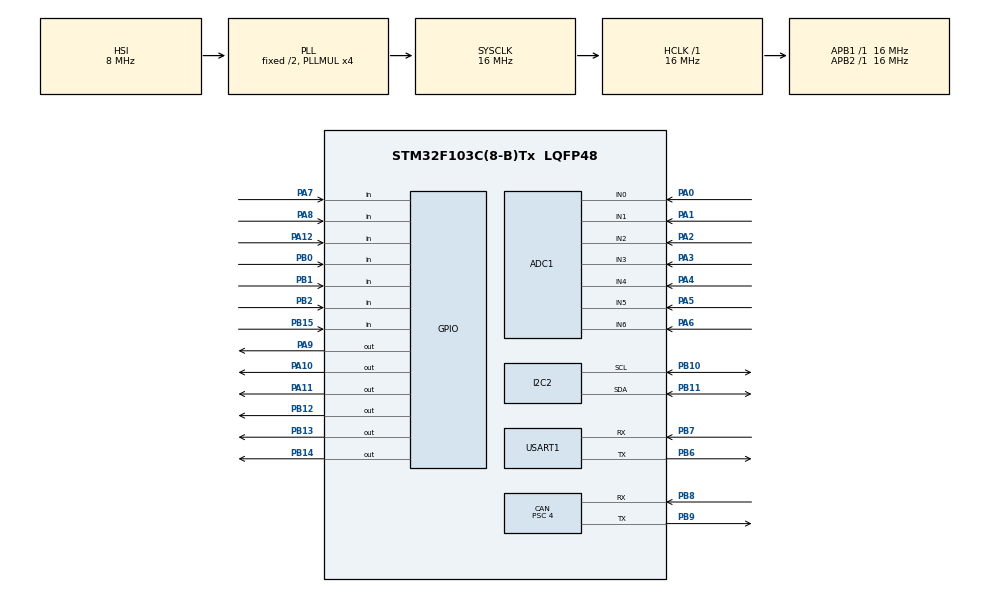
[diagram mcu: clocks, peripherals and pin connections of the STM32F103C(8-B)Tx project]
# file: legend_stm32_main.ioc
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ADC1.Channel-0\#ChannelRegularConversion=ADC_CHANNEL_0
ADC1.NbrOfConversionFlag=1
ADC1.Rank-0\#ChannelRegularConversion=1
ADC1.SamplingTime-0\#ChannelRegularConversion=ADC_SAMPLETIME_1CYCLE_5
ADC1.master=1
CAN.BS1=CAN_BS1_8TQ
CAN.BS2=CAN_BS2_7TQ
CAN.CalculateBaudRate=250000
CAN.CalculateTimeBit=4000
CAN.CalculateTimeQuantum=250.0
CAN.Prescaler=4
CAN.SJW=CAN_SJW_1TQ
IWDG.Prescaler=IWDG_PRESCALER_128
IWDG.Reload=325
Mcu.Family=STM32F1
Mcu.Name=STM32F103C(8-B)Tx
Mcu.Package=LQFP48
NVIC.I2C2_ER_IRQn=true\:0\:0\:false\:false\:true\:true\:true\:true
NVIC.I2C2_EV_IRQn=true\:0\:0\:false\:false\:true\:true\:true\:true
NVIC.PriorityGroup=NVIC_PRIORITYGROUP_4
NVIC.TIM3_IRQn=true\:0\:0\:false\:false\:true\:true\:true\:true
NVIC.TIM4_IRQn=true\:0\:0\:false\:false\:true\:true\:true\:true
NVIC.USB_HP_CAN1_TX_IRQn=true\:0\:0\:false\:false\:true\:true\:true\:true
NVIC.USB_LP_CAN1_RX0_IRQn=true\:0\:0\:false\:false\:true\:true\:true\:true
PA0-WKUP.Signal=ADCx_IN0
PA1.Signal=ADCx_IN1
PA10.Signal=GPIO_Output
PA11.Signal=GPIO_Output
PA12.Signal=GPIO_Input
PA13.Mode=Serial_Wire
PA13.Signal=SYS_JTMS-SWDIO
PA14.Mode=Serial_Wire
PA14.Signal=SYS_JTCK-SWCLK
PA2.Signal=ADCx_IN2
PA3.Signal=ADCx_IN3
PA4.Signal=ADCx_IN4
PA5.Signal=ADCx_IN5
PA6.Signal=ADCx_IN6
PA7.Signal=GPIO_Input
PA8.Signal=GPIO_Input
PA9.Signal=GPIO_Output
PB0.Signal=GPIO_Input
PB1.Signal=GPIO_Input
PB10.Mode=I2C
PB10.Signal=I2C2_SCL
PB11.Mode=I2C
PB11.Signal=I2C2_SDA
PB12.Signal=GPIO_Output
PB13.Signal=GPIO_Output
PB14.Signal=GPIO_Output
PB15.Signal=GPIO_Input
PB2.Signal=GPIO_Input
PB6.Mode=Asynchronous
PB6.Signal=USART1_TX
PB7.Mode=Asynchronous
PB7.Signal=USART1_RX
PB8.Mode=CAN_Activate
PB8.Signal=CAN_RX
PB9.Mode=CAN_Activate
PB9.Signal=CAN_TX
ProjectManager.HeapSize=0x200
ProjectManager.StackSize=0x400
ProjectManager.TargetToolchain=MDK-ARM V5.32
RCC.AHBFreq_Value=16000000
RCC.APB1Freq_Value=16000000
RCC.APB1TimFreq_Value=16000000
RCC.APB2Freq_Value=16000000
RCC.APB2TimFreq_Value=16000000
RCC.HCLKFreq_Value=16000000
RCC.PLLMUL=RCC_PLL_MUL4
RCC.SYSCLKFreq_VALUE=16000000
RCC.SYSCLKSource=RCC_SYSCLKSOURCE_PLLCLK
RCC.USBFreq_Value=16000000
SH.ADCx_IN0.0=ADC1_IN0,IN0
SH.ADCx_IN1.0=ADC1_IN1,IN1
SH.ADCx_IN2.0=ADC1_IN2,IN2
SH.ADCx_IN3.0=ADC1_IN3,IN3
SH.ADCx_IN4.0=ADC1_IN4,IN4
SH.ADCx_IN5.0=ADC1_IN5,IN5
SH.ADCx_IN6.0=ADC1_IN6,IN6
TIM3.Period=160
TIM3.Prescaler=100
TIM4.Period=10
TIM4.Prescaler=50
USART1.VirtualMode=VM_ASYNC
VP_CRC_VS_CRC.Mode=CRC_Activate
VP_IWDG_VS_IWDG.Mode=IWDG_Activate
VP_TIM3_VS_ClockSourceINT.Mode=Internal
VP_TIM4_VS_ClockSourceINT.Mode=Internal
board=custom

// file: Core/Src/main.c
/* USER CODE BEGIN Header */
/**
  ******************************************************************************
  * @file           : main.c
  * @brief          : Main program body
  ******************************************************************************
  * @attention
  *
  * Copyright (c) 2024 STMicroelectronics.
  * All rights reserved.
  *
  * This software is licensed under terms that can be found in the LICENSE file
  * in the root directory of this software component.
  * If no LICENSE file comes with this software, it is provided AS-IS.
  *
  ******************************************************************************
  */
/* USER CODE END Header */
#include "main.h"

/* USER CODE BEGIN Includes */
#include "FlashPROM.h"
#include <math.h>
/* USER CODE END Includes */

/* USER CODE BEGIN PTD */

#define bool uint16_t
#define false 0
#define true 1
#define PWM_8BIT 64  // 8-bit PWM
#define I2C_SLAVE_ADDRESS 0x67
#define I2C_TIMEOUT 10
#define I2C_BUFFER 14

//status byte 0
#define STATUS_BIT0_L_ON          0
#define STATUS_BIT0_R_ON          1
#define STATUS_BIT0_L_BUT         2
#define STATUS_BIT0_R_BUT         3
#define STATUS_BIT0_WATERMODE     4		 // Water Mode
#define STATUS_BIT0_SQUEEZE       5
#define STATUS_BIT0_OVERTEMP      6
#define STATUS_BIT0_RESERVE       7

//status byte 1

#define STATUS_BIT1_L_TRIP_STAGE1 0   // L TRIP current protection
#define STATUS_BIT1_R_TRIP_STAGE1 1   // R TRIP current protection
#define STATUS_BIT1_L_TRIP_STAGE2 2   // L TRIP over current protection short circuit
#define STATUS_BIT1_R_TRIP_STAGE2 3   // R TRIP over current protection short circuit
#define STATUS_BIT1_DO_SHIFT      4
#define STATUS_BIT1_DO_ERROR      5
#define STATUS_BIT1_DI_MODE1      6
#define STATUS_BIT1_DI_MODE2      7

//status byte 2
#define STATUS_BIT2_GEAR_P        0
#define STATUS_BIT2_FORCE         1
#define STATUS_BIT2_GEAR_N        2
#define STATUS_BIT2_GEAR_D        3
#define STATUS_BIT2_CURR1_L       4
#define STATUS_BIT2_CURR2_L       5
#define STATUS_BIT2_CURR1_R       6
#define STATUS_BIT2_CURR2_R       7

#define PARAMETERS 30     //See also BUFFSIZE 30 in FlashPROM.h
#define PAGES_COUNT 6
#define STR_LENGTH 15*2 // 2 bytes per symbol

struct AnalogFilter{
	uint64_t in_value;
	uint16_t out_value;
	uint16_t time_rate;
	uint16_t analog_limit;
	uint16_t time_count;
	bool trip;
};

struct SwitchFilter{
	bool outstate;
	bool lock;
	bool trigger;
	uint16_t scanrate;
	GPIO_TypeDef * port;
	uint16_t pin;
	uint16_t curr_scan;
};

struct Timer_v_in{
	bool timer_v_in_trigger;
  uint16_t timer_v_in_on;
  uint16_t timer_v_in_off;
	uint16_t timer_v_off_pause;
};

struct pwm{
		uint8_t dc_fill;
		bool enable;
	  uint8_t duty_cycle;
		GPIO_TypeDef * port;
	  uint16_t pin;
	  uint8_t curr_tick;
};

struct double_pwm{
		uint8_t dc_fill;
		bool enable;
	  bool trigger;
	  uint16_t duty_cycle;
		GPIO_TypeDef * port_hi;
	  uint16_t pin_hi;
		GPIO_TypeDef * port_lo;
	  uint16_t pin_lo;
	  uint8_t curr_tick;
};

struct i2c_data_{
  uint8_t statusbyte0;
  uint8_t statusbyte1;
  uint8_t statusbyte2;
  uint8_t GP_Speed;
  uint8_t GP_temp;
  uint8_t current_page;
  uint8_t paramfromdisp;
  uint8_t paramfromdisp_addr;
};

struct _ProcessChannel{
  uint8_t gear_mode;
	bool button_pressed;
	struct double_pwm * pwm;
	uint16_t  duty_cycle;
	bool squeeze;
	bool force;
	uint8_t * led;
	uint8_t * strength;
	uint8_t T_release;
	uint8_t T_on;
	bool fault;
	uint16_t timer0;
	uint16_t timer1;
};

struct MenuRow{
  uint8_t id;
	char desc_cust[STR_LENGTH];
	char desc_en[STR_LENGTH];
  uint8_t def;
  uint8_t min;
  uint8_t max;
  uint8_t writable; // 1- writable, 0 - readonly
  int8_t dp; //decimal point position
  uint8_t symb; // 0 - null, 1 - c, 2 - %, 3- A, 4 - s, 5 - mc, 6 - ms, 7 - Celsius, 8 - km/h
};

struct MenuRow menus[] = {
  {1,"01","01 I L LOW",30,0,100,1,0,2},
  {2,"02","02 I L MID",60,0,100,1,0,2},
  {3,"03","03 I L HIGH",100,0,100,1,0,2},
  {4,"04","04 I R LOW",30,0,100,1,0,2},
  {5,"05","05 I R MID",60,0,100,1,0,2},
  {6,"06","06 I R HIGH",100,0,100,1,0,2},
  {7,"07","07 Trel. norm.",5,0,100,1,1,1},
  {8,"08","08 Trel. water",20,0,100,1,1,1},
  {9,"09","09 Act curr. L",0,0,0,0,1,3},
  {10,"10","10 Act curr. R",0,0,0,0,1,3},
  {11,"11","11 Tr_del. L",0,0,50,1,1,1},
  {12,"12","12 Tr_del. R",0,0,50,1,1,1},
  {13,"13","13 I parking P",15,0,100,1,0,2},
  {14,"14","14 Temp fail",80,20,140,1,0,7},
  {15,"15","15 Off on temp",1,0,1,1,0,0},
  {16,"16","16 Iovercur. L",15,0,30,1,0,3},
  {17,"17","17 Iovercur. R",15,0,30,1,0,3},
  {18,"18","18 CAN speed",4,0,6,1,0,0},
  {19,"19","19 CAN address",0x11,0x01,0xFE,1,0,0},
  {20,"20","20 DI mode 1",0,0,1,0,0,0},
  {21,"21","21 DI mode 2",0,0,1,0,0,0},
	{22,"22","22 I Calibr L",40,10,200,1,0,0},
	{23,"23","23 I Calibr R",40,10,200,1,0,0},
  {24,"24","24 Speed cal.",29,1,250,1,0,0},
  {25,"25","25 Firmware", 10,1,100,0,1,0},
	{26,"26","26 Speed 1 st",  3,1,100,1,0,8},
	{27,"27","27 Speed 2 st", 15,1,100,1,0,8},
	{28,"28","28 DI SQ/FORCE", 1,0,1,1,0,0},
	{29,"29","29 DI WTR/FUNC", 1,0,1,1,0,0},
  {30,"30","30 Language",1,0,1,1,0,0},
};

/* USER CODE END PTD */

/* USER CODE BEGIN PD */

struct AnalogFilter pa[7]; // analog pin filter pins PA0-PA6
struct SwitchFilter pa7,pb0,pb1,pb2,pb15,pa8,pa12; //DI filter PA7,PB0,PB1,PB2,PB15,PA8,PA12
//struct pwm on_R_H, on_R_L, on_L_H, on_L_L;
struct double_pwm pwm_R, pwm_L;

uint16_t params_buf[PARAMETERS+1]; // zero byte - FLASH not erased info
uint32_t res_addr = 0;
uint32_t tick = 0;
uint16_t speed_tick = 0;
uint16_t adc_curr_L, adc_curr_R = 0;

struct _ProcessChannel Channel_L, Channel_R;

/* USER CODE END PD */

ADC_HandleTypeDef hadc1;

CAN_HandleTypeDef hcan;

CRC_HandleTypeDef hcrc;

I2C_HandleTypeDef hi2c2;

IWDG_HandleTypeDef hiwdg;

TIM_HandleTypeDef htim3;
TIM_HandleTypeDef htim4;

UART_HandleTypeDef huart1;

/* USER CODE BEGIN PV */

ADC_ChannelConfTypeDef sConfig = {0};
ADC_AnalogWDGConfTypeDef AnalogWDGConfig = {0};

struct MainDataSet{
  int16_t GP_Temp;
  uint16_t GP_Speed;
  bool Water_mode;
  bool Squeeze_mode;
	bool Force_mode;
  bool Left_button;
  bool Right_button;
  uint8_t Right_Strength;       // Empty, LOW, MID, HIGH
  uint8_t Right_Strength_level; //Level in persantage
  uint8_t Left_Strength;        // Empty, LOW, MID, HIGH
  uint8_t Left_Strength_level;  //Level in persantage
  uint8_t selector_mode;        // 1 - P, 2 - R, 3 - N, 4 - D
  uint8_t Left_fault_stage1;
	uint8_t Left_fault_stage2;
  uint8_t Right_fault_stage1;
	uint8_t Right_fault_stage2;
	uint8_t Left_On;
	uint8_t Right_On;
	uint8_t DO_shift;
	uint8_t DO_error;
	uint8_t DI_mode1;
	uint8_t DI_mode2;
	bool OverTemp;
	uint8_t gear;
};

struct MainDataSet main_data;
struct i2c_data_ i2c_data;
uint8_t tick100Hz = 0;
uint16_t  temp0, temp2 = 0;
long temp1 = 0;

/* USER CODE END PV */

void SystemClock_Config(void);
static void MX_GPIO_Init(void);
static void MX_ADC1_Init(void);
static void MX_CAN_Init(void);
static void MX_TIM3_Init(void);
static void MX_IWDG_Init(void);
static void MX_USART1_UART_Init(void);
static void MX_TIM4_Init(void);
static void MX_I2C2_Init(void);
static void MX_CRC_Init(void);

/* USER CODE BEGIN 0 */

uint8_t i2c_buf[I2C_BUFFER];
uint8_t i2c_receive[I2C_BUFFER];
uint8_t regAddress = 0;

uint8_t Calc_PWM(uint8_t duty_cycle)
{

	 if (duty_cycle == 0) return 0;

	 uint16_t result = PWM_8BIT*duty_cycle/100;
	 return (uint8_t) result;
}

bool AnalogPinTrip(struct AnalogFilter * ana)
{
  if (ana->analog_limit == 0) return false;

	if (ana->in_value > ana->analog_limit)
	{
		if (ana->time_count >= ana->time_rate)
		{
			ana->trip=true;
		} else
		  ana->time_count++;
	} else
  {
	  ana->time_count = 0;
		ana->trip=false;
	}
	return ana->trip;
}

void AnalogAverage(struct AnalogFilter * ana)
{
	if (ana->time_count == 0) return;

  ana->out_value = (uint16_t) sqrt(ana->in_value/ana->time_count); // RMS average

	ana->time_count = 0;
	ana->in_value = 0;
}

void AnalogAddValue(struct AnalogFilter * ana, uint16_t value)
{
	ana->in_value += value*value; // sum of squares
	ana->time_count++;
}

void Init_Channels()
{
	Channel_L.timer0 = 0;
	Channel_L.timer1 = 0;
	Channel_L.fault = false;
	Channel_L.force = false;
	Channel_L.pwm = &pwm_L;
	Channel_L.strength = &main_data.Left_Strength;

	Channel_R.timer0 = 0;
	Channel_R.timer1 = 0;
	Channel_R.fault = false;
	Channel_R.force = false;
	Channel_R.pwm = &pwm_R;
	Channel_R.strength = &main_data.Right_Strength;
}

void Init_i2c_data()
{
  i2c_data.statusbyte0 = 0;
  i2c_data.statusbyte1 = 0;
  i2c_data.statusbyte2 = 0;
  i2c_data.paramfromdisp = 0;
  i2c_data.paramfromdisp_addr = 0;
  i2c_data.current_page = 0;
  i2c_data.GP_Speed = 0;
  i2c_data.GP_temp = 0;
}

void InitPWM()
{
	pwm_R.dc_fill = 0;
	pwm_R.duty_cycle = 0;
	pwm_R.enable = true;
	pwm_R.trigger = false;
	pwm_R.port_hi = GPIOB;
	pwm_R.pin_hi = GPIO_PIN_13;
  pwm_R.port_lo = GPIOB;
	pwm_R.pin_lo = GPIO_PIN_14;

	pwm_L.dc_fill = 0;
	pwm_L.duty_cycle = 0;
	pwm_L.enable = true;
	pwm_L.trigger = false;
	pwm_L.port_hi = GPIOA;
	pwm_L.pin_hi = GPIO_PIN_11;
  pwm_L.port_lo = GPIOB;
	pwm_L.pin_lo = GPIO_PIN_12;
}

void InitMainScreenSet()
{
  main_data.GP_Speed = 0xFFFF;
  main_data.GP_Temp = 0xFFFF;

  main_data.Left_button = false;
  main_data.Left_Strength_level = 0;
  main_data.Left_Strength = 0;

  main_data.Right_button = false;
  main_data.Right_Strength_level = 0;
  main_data.Right_Strength = 0;

  main_data.Squeeze_mode = false;
	main_data.Force_mode = false;
  main_data.Water_mode = false;
  main_data.selector_mode = 0;
	main_data.Left_On = 0;
	main_data.Right_On = 0;
	main_data.Left_fault_stage1 = 0;
	main_data.Left_fault_stage2 = 0;
	main_data.Right_fault_stage1 = 0;
	main_data.Right_fault_stage2 = 0;
	main_data.DI_mode1 = 0;
	main_data.DI_mode2 = 0;
	main_data.DO_error = 0;
	main_data.DO_shift = 0;
	main_data.OverTemp = false;
	main_data.gear = 0;
}

void InitAnalogPins(void)
{

	//CS_L
	pa[0].trip = false;
	pa[0].in_value = 0;
	pa[0].time_rate = 3;
	pa[0].time_count = 0;
	pa[0].out_value = 0;
	pa[0].analog_limit = 0;

	//CS_R
  pa[1].trip = false;
	pa[1].in_value = 0;
	pa[1].time_rate = 3;
	pa[1].time_count = 0;
	pa[1].out_value = 0;
	pa[1].analog_limit = 0;

	//SEARCH COIL L
  pa[2].trip = false;
	pa[2].in_value = 0;
	pa[2].time_rate = 3;
	pa[2].time_count = 0;
	pa[2].out_value = 0;
	pa[2].analog_limit = 0;

	//SEARCH COIL R
  pa[3].trip = false;
	pa[3].in_value = 0;
	pa[3].time_rate = 3;
	pa[3].time_count = 0;
	pa[3].out_value = 0;
	pa[3].analog_limit = 0;

	//TEMP 0
  pa[4].trip = false;
	pa[4].in_value = 0;
	pa[4].time_rate = 3;
	pa[4].time_count = 0;
	pa[4].out_value = 0;
	pa[4].analog_limit = 0;

	//ANALOG 1
  pa[5].trip = false;
	pa[5].in_value = 0;
	pa[5].time_rate = 3;
	pa[5].time_count = 0;
	pa[5].out_value = 0;
	pa[5].analog_limit = 0;

	//ANALOG 2
  pa[6].trip = false;
	pa[6].in_value = 0;
	pa[6].time_rate = 3;
	pa[6].time_count = 0;
	pa[6].out_value = 0;
	pa[6].analog_limit = 0;

}

bool _switch_filter(struct SwitchFilter * source)
{
	if (!(HAL_GPIO_ReadPin(source->port,source->pin)))
	{
		if (source->curr_scan >= source->scanrate){

			source->outstate = true;
			source->trigger = true;
		} else

		source->curr_scan++;

		if  (source->scanrate == 0xFFFF) source->curr_scan = 0;

	} else
	{
	    source->curr_scan = 0;
			source->outstate = false;

		  if (source->trigger)
			{
				source->lock = false;
				source->trigger = false;
			}
	}

	return source->outstate;
}

void InitSwitches(void)
{
	 //DI filter PA7,PB0,PB1,PB2,PB15,PA8,PA9,PA12

		pa7.outstate = false;
	  pa7.lock = false;
	  pa7.trigger = false;
	  pa7.port = GPIOA;
	  pa7.pin = GPIO_PIN_7;
	  pa7.scanrate = 4;

		pb0.outstate = false;
	  pb0.lock = false;
	  pb0.trigger = false;
	  pb0.port = GPIOB;
	  pb0.pin = GPIO_PIN_0;
	  pb0.scanrate = 4;

		pb1.outstate = false;
	  pb1.lock = false;
	  pb1.trigger = false;
	  pb1.port = GPIOB;
	  pb1.pin = GPIO_PIN_1;
	  pb1.scanrate = 4;

		pb2.outstate = false;
		pb2.lock = false;
		pb2.trigger = false;
	  pb2.port = GPIOB;
	  pb2.pin = GPIO_PIN_2;
	  pb2.scanrate = 4;

		pa8.outstate = false;
		pa8.lock = false;
		pa8.trigger = false;
	  pa8.port = GPIOA;
	  pa8.pin = GPIO_PIN_8;
	  pa8.scanrate = 4;

    pa12.outstate = false;
		pa12.lock = false;
		pa12.trigger = false;
	  pa12.port = GPIOA;
	  pa12.pin = GPIO_PIN_12;
	  pa12.scanrate = 4;

}

void ProcessPWM(struct pwm * channel) //one transistor PWM
{

	 if (channel->dc_fill == 0){
		 HAL_GPIO_WritePin(channel->port, channel->pin, GPIO_PIN_RESET);
		 return;
	 }

	 channel->curr_tick++;

	if (channel->curr_tick >= PWM_8BIT)
	{
		 channel->curr_tick = 0;
	}

	if (channel->enable && (channel->dc_fill >= channel->curr_tick))
	{
		HAL_GPIO_WritePin(channel->port, channel->pin, GPIO_PIN_SET);
	} else
	  HAL_GPIO_WritePin(channel->port, channel->pin, GPIO_PIN_RESET);
}

void DoublePWM(struct double_pwm * pwm) //HIGH and LOW transistors used to PWM
{
	 if (pwm->dc_fill == 0 || (!pwm->enable)){
		 HAL_GPIO_WritePin(pwm->port_hi, pwm->pin_hi, GPIO_PIN_RESET);
		 HAL_GPIO_WritePin(pwm->port_lo, pwm->pin_lo, GPIO_PIN_RESET);
		 return;
	 }

	 pwm->curr_tick++;

	 if (pwm->curr_tick >= PWM_8BIT)
	 {
		  pwm->curr_tick = 0;
		  pwm->trigger = !pwm->trigger;
	 }

	 if (pwm->trigger)
	 {
	 	 HAL_GPIO_WritePin(pwm->port_lo, pwm->pin_lo, GPIO_PIN_SET);

	 	 if (pwm->dc_fill >= pwm->curr_tick)
	    {
	      HAL_GPIO_WritePin(pwm->port_hi, pwm->pin_hi, GPIO_PIN_SET);
	    } else
	      HAL_GPIO_WritePin(pwm->port_hi, pwm->pin_hi, GPIO_PIN_RESET);

	 } else
	 {
		 HAL_GPIO_WritePin(pwm->port_hi, pwm->pin_hi, GPIO_PIN_SET);

	 	 if (pwm->dc_fill >= pwm->curr_tick)
	    {
	      HAL_GPIO_WritePin(pwm->port_lo, pwm->pin_lo, GPIO_PIN_SET);
	    } else
	      HAL_GPIO_WritePin(pwm->port_lo, pwm->pin_lo, GPIO_PIN_RESET);

	 }
}

void ProcessChannel(struct _ProcessChannel * channel)
{

	if ((channel->gear_mode == 0) || (channel->squeeze == 1))  //Neutral
	{
		channel->pwm->duty_cycle = 0;
		*channel->led = 0;
		return;
	}

	if (channel->gear_mode == 1) //Parking
	{
		if (params_buf[13] >= 97) params_buf[13] = 97; //Safety condition to charge BOOTSTRAP capacitor. 100% DC are not applicable

		channel->pwm->duty_cycle = params_buf[13];

		if (!channel->fault)
		*channel->led = 1; else *channel->led = 0;
	}

	if (channel->duty_cycle >= 97) channel->duty_cycle = 97; //Safety condition to charge BOOTSTRAP capacitor. 100% DC are not applicable

	if (channel->gear_mode == 2) //Drive
	{

  	if (channel->button_pressed)
	  {

	    if (channel->T_release > 0)
			{
				channel->timer1 = 0;

	      if (channel->timer0 < channel->T_release*10)
	      {
		       channel->timer0++;
					 channel->pwm->duty_cycle = (channel->T_release*10 - channel->timer0)*channel->duty_cycle/channel->T_release/10;  //formula DC_actual=(T_rel-T)*DC/Trel

    	  } else
				{
    				channel->pwm->duty_cycle = 0;
        }

			}
			else
			channel->pwm->duty_cycle = 0;

			if (channel->pwm->duty_cycle == 0) *channel->led = 0;

		}
		else
		{
			channel->timer0 = 0;

			if (channel->T_on> 0)
			{
				if (channel->timer1 < channel->T_on*10)
				{
						channel->timer1++;
					  channel->pwm->duty_cycle = (channel->timer1)*channel->duty_cycle/channel->T_on/10;  //formula DC_actual=T*DC/Ton

				} else
				{
    				channel->pwm->duty_cycle = channel->duty_cycle;
        }

			}
			else
						channel->pwm->duty_cycle = channel->duty_cycle;

			if (!channel->fault)
			*channel->led = 1; else *channel->led = 0;
		}
	}

	if (channel->pwm->duty_cycle == 0) *channel->strength = 0;
}

void HAL_TIM_PeriodElapsedCallback(TIM_HandleTypeDef* htim) // 100Hz Timer
{
	if(htim->Instance == TIM3)
  {

		//Calculate PWM (persentage to 8-bit value)
		pwm_L.dc_fill = Calc_PWM(pwm_L.duty_cycle);
		pwm_R.dc_fill = Calc_PWM(pwm_R.duty_cycle);

		// Analog values pa[0]...pa[7]

			for (uint8_t i=0;i<7;i++)
				AnalogPinTrip(&pa[i]);

		tick100Hz++;

		//DI filter PA7,PB0,PB1,PB2,PA8,PA9,PA12
		_switch_filter(&pa7);  //Mode 1
		_switch_filter(&pb0);  //Button L
		_switch_filter(&pb1);  //Button R
		_switch_filter(&pb2);  //Squeeze
		_switch_filter(&pa8);  //Mode 2
		_switch_filter(&pa12); //Water

		ProcessChannel(&Channel_L); //LEFT channel processing
	  ProcessChannel(&Channel_R); //RIGHT channel processing

	}

	if (htim->Instance == TIM4)
	{
		temp1++;
		DoublePWM(&pwm_L);
		DoublePWM(&pwm_R);
	}
}

uint32_t GetADC1_Value(uint32_t channel)
{

		uint32_t g_ADCValue = 0;
		sConfig.Channel = channel;

		sConfig.Rank = 1;

		sConfig.SamplingTime = ADC_SAMPLETIME_13CYCLES_5; //or any other value available.

		//add to channel select

		if (HAL_ADC_ConfigChannel(&hadc1, &sConfig) != HAL_OK)
		{
				return -1;
		}
    HAL_ADC_Start(&hadc1);

		if (HAL_ADC_PollForConversion(&hadc1, HAL_MAX_DELAY) == HAL_OK)

		g_ADCValue = HAL_ADC_GetValue(&hadc1);

		//remove from channel select

		HAL_ADC_Stop(&hadc1);

		sConfig.Rank = 0; //ADC_RANK_NONE;

		if (HAL_ADC_ConfigChannel(&hadc1, &sConfig) != HAL_OK)
		{
			return -1;
		}

		return (g_ADCValue);
}

void WriteParamsToFlash()
{
	params_buf[0] = 0;

	for (int i = 1; i <= PARAMETERS;i++)
	{
		if ((params_buf[i] < (uint16_t) menus[i-1].min) || (params_buf[i] > (uint16_t) menus[i-1].max)) params_buf[i] = menus[i-1].def;
	}

	write_to_flash(&params_buf[0]);
}

void UpdateStatus()
{
	bool write_params = false;

	//Status byte 0
	i2c_data.statusbyte0 = ((bool)(main_data.Left_On) << STATUS_BIT0_L_ON) |
		           ((bool)(main_data.Right_On) << STATUS_BIT0_R_ON) |
						   ((bool)(main_data.Left_button) << STATUS_BIT0_L_BUT) |
							 ((bool)(main_data.Right_button) << STATUS_BIT0_R_BUT) |
						   ((bool)(main_data.Water_mode) << STATUS_BIT0_WATERMODE) |
							 ((bool)(main_data.Squeeze_mode) << STATUS_BIT0_SQUEEZE) |
							 ((bool)(main_data.OverTemp) << STATUS_BIT0_OVERTEMP) |
							 (0 << STATUS_BIT0_RESERVE);

	//Status byte 1
  i2c_data.statusbyte1 = ((bool)(main_data.Left_fault_stage1) << STATUS_BIT1_L_TRIP_STAGE1) |
		           ((bool)(main_data.Right_fault_stage1) << STATUS_BIT1_R_TRIP_STAGE1) |
						   ((bool)(main_data.Left_fault_stage2) << STATUS_BIT1_L_TRIP_STAGE2) |
							 ((bool)(main_data.Right_fault_stage2) << STATUS_BIT1_R_TRIP_STAGE2) |
						   ((bool)(main_data.DO_shift) << STATUS_BIT1_DO_SHIFT) |
							 ((bool)(main_data.DO_error) << STATUS_BIT1_DO_ERROR) |
							 ((bool)(main_data.DI_mode1) << STATUS_BIT1_DI_MODE1) |
							 ((bool)(main_data.DI_mode2) << STATUS_BIT1_DI_MODE2);

  //Status byte 2

  i2c_data.statusbyte2 = (main_data.gear) |
						   (main_data.Left_Strength << STATUS_BIT2_CURR1_L) |
							 (main_data.Right_Strength << STATUS_BIT2_CURR1_R);
	//Temperature
	i2c_data.GP_temp = main_data.GP_Temp;

	//Speed
	i2c_data.GP_Speed = main_data.GP_Speed;

	i2c_buf[1] = i2c_data.statusbyte0;
	i2c_buf[2] = i2c_data.statusbyte1;
	i2c_buf[3] = i2c_data.statusbyte2;
	i2c_buf[4] = i2c_data.GP_temp;
	i2c_buf[5] = i2c_data.GP_Speed;
	i2c_buf[6] = i2c_data.current_page;

	// current parameters at page
	for (int i=0; i<5; i++)
	{
		if ((i2c_data.current_page > 0) && (i2c_data.current_page <= 6))
		{
		  int index = i+1+(i2c_data.current_page-1)*5;

			if (index <= PARAMETERS)
			    i2c_buf[7+i] = params_buf[index];
			else
			    i2c_buf[7+i] = 0;
		}
		else
			 i2c_buf[7+i] = 0;
	}

	if ((i2c_data.paramfromdisp_addr > 0) && (i2c_data.paramfromdisp_addr <= PARAMETERS))
	{
		if (i2c_data.paramfromdisp >= menus[i2c_data.paramfromdisp_addr-1].min)
		if (i2c_data.paramfromdisp <= menus[i2c_data.paramfromdisp_addr-1].max)
		{
			write_params = (params_buf[i2c_data.paramfromdisp_addr] != (uint16_t) i2c_data.paramfromdisp);

			params_buf[i2c_data.paramfromdisp_addr] = (uint16_t) i2c_data.paramfromdisp;

			if (write_params)
			{
				WriteParamsToFlash();
			}

		}
	}

}

void HAL_I2C_MasterTxCpltCallback(I2C_HandleTypeDef *hi2c)
{
 //
}

void HAL_I2C_MasterRxCpltCallback(I2C_HandleTypeDef *hi2c)
{
  // I2C data ready!
}

bool CheckParamsLimits(uint16_t * params)
{
	bool result = true;

	for (int i=1; i<= PARAMETERS; i++)
	{
	 if ((uint16_t) params[i] < (uint16_t) menus[i-1].min) result = false;
	 if ((uint16_t) params[i] > (uint16_t) menus[i-1].max) result = false;
	}

	return result;
}

void WriteDefsToFlash()
{
	params_buf[0] = 0;
	for (int i = 1; i <= PARAMETERS; i++){
		  params_buf[i] = menus[i-1].def;
	}

	write_to_flash(&params_buf[0]);

}

uint8_t SelectCurrentFromSpeed(uint8_t low_dc, uint8_t mid_dc, uint8_t high_dc, uint8_t * strength)
{
	uint8_t result = 0;

	if (((main_data.GP_Speed >= 0) && (main_data.GP_Speed < params_buf[26]) || main_data.Force_mode)){
  		result = high_dc;
		  * strength = 3;
	}
	else
	if ((main_data.GP_Speed >= params_buf[26]) && (main_data.GP_Speed < params_buf[27])){
	  	result = mid_dc;
      * strength = 2;
	}
	else
	if  (main_data.GP_Speed >= params_buf[27])
	{
			result = low_dc;
			* strength = 1;
  }

	return result;
}

void UpdateChannelsData()
{
  Channel_L.button_pressed = pb0.outstate;
	Channel_L.gear_mode = main_data.selector_mode;
	Channel_L.duty_cycle = SelectCurrentFromSpeed(params_buf[1],params_buf[2],params_buf[3], &main_data.Left_Strength);

	Channel_L.squeeze = main_data.Squeeze_mode;
	Channel_L.led = &main_data.Left_On;
	Channel_L.T_release = params_buf[11];

  Channel_R.button_pressed = pb1.outstate;
	Channel_R.gear_mode = main_data.selector_mode;
	Channel_R.duty_cycle = SelectCurrentFromSpeed(params_buf[4],params_buf[5],params_buf[6], &main_data.Right_Strength);

	Channel_R.squeeze = main_data.Squeeze_mode;
	Channel_R.led = &main_data.Right_On;
	Channel_R.T_release = params_buf[12];

	if (main_data.Water_mode) //Watermode current up
	{
	    Channel_L.T_on = params_buf[8];
	    Channel_R.T_on = params_buf[8];
	}
  else //Normal current up
	{
		  Channel_L.T_on = params_buf[7];
	    Channel_R.T_on = params_buf[7];
	}
}

void ProcessDIevents()
{

	if (pb0.outstate) //Button L
	{
		main_data.Left_button = 1;

	} else
	{
		main_data.Left_button = 0;

	}

	if (pb1.outstate) //Button R
	{
		main_data.Right_button = 1;
	} else
	{
		main_data.Right_button = 0;

	}

	if (pa7.outstate) //DI Mode 1
	{
    main_data.DI_mode1 = 1;
	}
	else
	{
		main_data.DI_mode1 = 0;
	}

	params_buf[20] = main_data.DI_mode1;

	if (pb2.outstate) //Squeeze/Force
	{
		if (params_buf[28] == 1) main_data.Force_mode = 1;
		else
														 main_data.Squeeze_mode = 1;
	} else
	{
		main_data.Force_mode = 0;
		main_data.Squeeze_mode  = 0;
	}

	if (pa8.outstate) //DI Mode 2
	{
		main_data.DI_mode2 = 1;
	} else
	{
		main_data.DI_mode2  = 0;

	}

	params_buf[21] = main_data.DI_mode2;

	if (pa12.outstate) //Water
	{
		main_data.Water_mode = 1;
	} else
	{
		main_data.Water_mode  = 0;
	}

  main_data.gear = (1 << STATUS_BIT2_GEAR_N);
	main_data.selector_mode = 0;

	if (main_data.DI_mode1) {
		  main_data.gear = (1 << STATUS_BIT2_GEAR_P);
		  main_data.selector_mode = 1;
	}

  if (main_data.DI_mode2) {
		  main_data.gear = (1 << STATUS_BIT2_GEAR_D);
		  main_data.selector_mode = 2;
	}

	if (main_data.Force_mode) {
		  main_data.gear = (1 << STATUS_BIT2_FORCE);
	}

}

int16_t ADC_to_Celsius(int16_t adc)
{
	float result = 0;

	if ((adc <= 0x004) || (adc >= 3280)) // short circuit on sensor and open circuit
		return -127;

	if (adc >= 640)
	  result = -0.00000714*adc*adc-0.0104*adc+76.5; //cold temperature curve approximation
	else
	  result = 0.0014*adc*adc-1.5857*adc+513.13; //high temperature curve approximation

	return (int16_t) roundf(result);
}

void CANsendmsg()
{
	CAN_TxHeaderTypeDef msgHeader;
  uint8_t msgData[8];

	if (params_buf[18] == 0) return;

  if (HAL_CAN_GetTxMailboxesFreeLevel(&hcan) != 0)
  {

    msgHeader.StdId = params_buf[19]; //CAN bus node address
    msgHeader.DLC = 8;
    msgHeader.TransmitGlobalTime = DISABLE;
    msgHeader.RTR = CAN_RTR_DATA;
    msgHeader.IDE = CAN_ID_STD;

    uint32_t mailBoxNum = 0;

		msgData[0] = i2c_data.statusbyte0;
		msgData[1] = i2c_data.statusbyte1;
		msgData[2] = i2c_data.statusbyte2;
		msgData[3] = (int8_t)  i2c_data.GP_temp;
	  msgData[4] = (uint8_t) i2c_data.GP_Speed;

		msgData[5] = params_buf[9];  //current L
		msgData[6] = params_buf[10]; //current R

    HAL_CAN_AddTxMessage(&hcan, &msgHeader, &msgData[0], &mailBoxNum);
  }
}

void ScanSpeedSensor()
{
	bool value;
	static bool old_value;

	uint16_t result = 0;

	value = HAL_GPIO_ReadPin(GPIOB, GPIO_PIN_15);

	if (value && !old_value) //RISING EDGE
	{
    speed_tick++;
	}

	old_value = value;
}

void DOError()
{
		if (main_data.DO_error) HAL_GPIO_WritePin(GPIOA, GPIO_PIN_10, GPIO_PIN_SET); else
		                        HAL_GPIO_WritePin(GPIOA, GPIO_PIN_10, GPIO_PIN_RESET);
}

/* USER CODE END 0 */

int main(void)
{
  /* USER CODE BEGIN 1 */
  uint32_t timers[8];

  /* USER CODE END 1 */

  /* MCU Configuration--------------------------------------------------------*/

  /* Reset of all peripherals, Initializes the Flash interface and the Systick. */
  HAL_Init();

  /* Configure the system clock */
  SystemClock_Config();

  /* USER CODE BEGIN SysInit */

	res_addr = flash_search_adress(STARTADDR, PARAMETERS * DATAWIDTH);
	read_last_data_in_flash(&params_buf[0]);

	if (params_buf[0] == 0xFFFF)
	{
		erase_flash();
		HAL_Delay(5);
		WriteDefsToFlash();
	}
	if (!CheckParamsLimits(&params_buf[0]))
	{
		WriteDefsToFlash();
	}

  /* USER CODE END SysInit */

  /* Initialize all configured peripherals */
  MX_GPIO_Init();
  MX_ADC1_Init();
  MX_CAN_Init();
  MX_TIM3_Init();
  MX_IWDG_Init();
  MX_USART1_UART_Init();
  MX_TIM4_Init();
  MX_I2C2_Init();
  MX_CRC_Init();
  /* USER CODE BEGIN 2 */

	for (int j=0; j<8; j++)
	     timers[j] = 0;

	InitMainScreenSet();
	InitPWM();
	Init_i2c_data();
	Init_Channels();
	UpdateChannelsData();

	HAL_TIM_Base_Start_IT(&htim3);
	HAL_TIM_Base_Start_IT(&htim4);

	InitAnalogPins();
	InitSwitches();

	CAN_FilterTypeDef canFilterConfig;
  canFilterConfig.FilterBank = 0;
  canFilterConfig.FilterMode = CAN_FILTERMODE_IDMASK;
  canFilterConfig.FilterScale = CAN_FILTERSCALE_32BIT;
  canFilterConfig.FilterIdHigh = 0x0000;
  canFilterConfig.FilterIdLow = 0x0000;
  canFilterConfig.FilterMaskIdHigh = 0x0000;
  canFilterConfig.FilterMaskIdLow = 0x0000;
  canFilterConfig.FilterFIFOAssignment = CAN_RX_FIFO0;
  canFilterConfig.FilterActivation = ENABLE;
  canFilterConfig.SlaveStartFilterBank = 14;
  HAL_CAN_ConfigFilter(&hcan, &canFilterConfig);

	if (params_buf[18] > 0)
	{
    HAL_CAN_Start(&hcan);
    HAL_CAN_ActivateNotification(&hcan, CAN_IT_RX_FIFO0_MSG_PENDING);
  }

  /* USER CODE END 2 */

  /* Infinite loop */
  /* USER CODE BEGIN WHILE */
  while (1)
  {
		HAL_IWDG_Refresh(&hiwdg);

		if (!pb0.lock) {
			  pwm_L.enable = true;
			  main_data.Left_fault_stage2 = false;
			  Channel_L.fault = false;

		}
		if (!pb1.lock) {
			  pwm_R.enable = true;
			  main_data.Right_fault_stage2 = false;
   			Channel_R.fault = false;
		}

		if (!pb0.lock && !pb1.lock) main_data.DO_error = false;

		AnalogAddValue(&pa[0], GetADC1_Value(ADC_CHANNEL_0));  //CS_L
		AnalogAddValue(&pa[1], GetADC1_Value(ADC_CHANNEL_1));  //CS_R

		AnalogAddValue(&pa[4], GetADC1_Value(ADC_CHANNEL_4)); //TEMP0

		//pa[2].in_value = GetADC1_Value(ADC_CHANNEL_2);  //SEARCH_L
		//pa[3].in_value = GetADC1_Value(ADC_CHANNEL_3);  //SEARCH_R

		//pa[5].in_value = GetADC1_Value(ADC_CHANNEL_5);  //ANALOG 1
		//pa[6].in_value = GetADC1_Value(ADC_CHANNEL_6);  //ANALOG 2

		ScanSpeedSensor();
		DOError();

		if ((HAL_GetTick() - timers[0]) > 100) //0.1 sec
		{
			UpdateStatus();
			UpdateChannelsData();
			ProcessDIevents();

			timers[0] = HAL_GetTick();
		}

		if ((HAL_GetTick() - timers[1]) > 150) //0.15 sec
		{
			HAL_I2C_Master_Transmit(&hi2c2, (I2C_SLAVE_ADDRESS << 1), &i2c_buf[0], I2C_BUFFER,  I2C_TIMEOUT);

			CANsendmsg();
			timers[1] = HAL_GetTick();
		}

		if ((HAL_GetTick() - timers[2]) > 5) //every 5 ms
		{
			timers[2] = HAL_GetTick();
		}

		if ((HAL_GetTick() - timers[3]) > 300) //0.3 sec
		{
			AnalogAverage(&pa[0]);
			AnalogAverage(&pa[1]);
			AnalogAverage(&pa[4]);

			params_buf[9] = pa[0].out_value/params_buf[22]; //Actual Current L

			params_buf[10] = pa[1].out_value/params_buf[23]; //Actual Current R

			if (((uint16_t) params_buf[9] >=  (uint16_t) params_buf[16]*10) && (params_buf[16] > 0)) // Overload LEFT
			{
			    pwm_L.enable = false;
			    main_data.DO_error = true;
			    main_data.Left_fault_stage2 = true;
			    pb0.lock = true;
				  Channel_L.fault = true;

		  }

			if (((uint16_t) params_buf[10] >= (uint16_t) params_buf[17]*10) && (params_buf[17] > 0)) // Overload RIGHT
			{
			    pwm_R.enable = false;
			    main_data.DO_error = true;
			    main_data.Right_fault_stage2 = true;
			    pb1.lock = true;
				  Channel_R.fault = true;

		  }

			main_data.GP_Temp = ADC_to_Celsius(pa[4].out_value);   //Temperature of GP

			if (params_buf[15] == 1)
			{
					bool OverTemp_flag = main_data.OverTemp;
			    main_data.OverTemp = (main_data.GP_Temp >= params_buf[14]);

			    if (OverTemp_flag && !main_data.OverTemp) {

						  main_data.DO_error = false;
						  pwm_R.enable = true;
					  	pwm_L.enable = true;
						  Channel_L.fault = false;
						  Channel_R.fault = false;

					}

					if (main_data.OverTemp) //Overheat
					{
				    main_data.DO_error = true;
						pwm_R.enable = false;
						pwm_L.enable = false;
						main_data.Left_On = false;
						main_data.Right_On = false;
						Channel_L.fault = true;
						Channel_R.fault = true;
					}

				}

			timers[3] = HAL_GetTick();
		}

		if ((HAL_GetTick() - timers[4]) > 500) //0.50 sec
		{

			HAL_I2C_Master_Receive_IT(&hi2c2, (I2C_SLAVE_ADDRESS << 1), &i2c_receive[0], I2C_BUFFER);
			i2c_data.current_page 			= i2c_receive[1];
			i2c_data.paramfromdisp 			= i2c_receive[2];
			i2c_data.paramfromdisp_addr = i2c_receive[3];

			if (params_buf[24] > 0)
    			main_data.GP_Speed = speed_tick*20/params_buf[24];

			speed_tick = 0;

			timers[4] = HAL_GetTick();

		}

		if ((HAL_GetTick() - timers[5]) > 1000) //1.0 sec
		{

			timers[5] = HAL_GetTick();
		}

    /* USER CODE END WHILE */

  }
}

void SystemClock_Config(void)
{
  RCC_OscInitTypeDef RCC_OscInitStruct = {0};
  RCC_ClkInitTypeDef RCC_ClkInitStruct = {0};
  RCC_PeriphCLKInitTypeDef PeriphClkInit = {0};

  /** Initializes the RCC Oscillators according to the specified parameters
  * in the RCC_OscInitTypeDef structure.
  */
  RCC_OscInitStruct.OscillatorType = RCC_OSCILLATORTYPE_HSI|RCC_OSCILLATORTYPE_LSI;
  RCC_OscInitStruct.HSIState = RCC_HSI_ON;
  RCC_OscInitStruct.HSICalibrationValue = RCC_HSICALIBRATION_DEFAULT;
  RCC_OscInitStruct.LSIState = RCC_LSI_ON;
  RCC_OscInitStruct.PLL.PLLState = RCC_PLL_ON;
  RCC_OscInitStruct.PLL.PLLSource = RCC_PLLSOURCE_HSI_DIV2;
  RCC_OscInitStruct.PLL.PLLMUL = RCC_PLL_MUL4;
  if (HAL_RCC_OscConfig(&RCC_OscInitStruct) != HAL_OK)
  {
    Error_Handler();
  }

  /** Initializes the CPU, AHB and APB buses clocks
  */
  RCC_ClkInitStruct.ClockType = RCC_CLOCKTYPE_HCLK|RCC_CLOCKTYPE_SYSCLK
                              |RCC_CLOCKTYPE_PCLK1|RCC_CLOCKTYPE_PCLK2;
  RCC_ClkInitStruct.SYSCLKSource = RCC_SYSCLKSOURCE_PLLCLK;
  RCC_ClkInitStruct.AHBCLKDivider = RCC_SYSCLK_DIV1;
  RCC_ClkInitStruct.APB1CLKDivider = RCC_HCLK_DIV1;
  RCC_ClkInitStruct.APB2CLKDivider = RCC_HCLK_DIV1;

  if (HAL_RCC_ClockConfig(&RCC_ClkInitStruct, FLASH_LATENCY_0) != HAL_OK)
  {
    Error_Handler();
  }
  PeriphClkInit.PeriphClockSelection = RCC_PERIPHCLK_ADC;
  PeriphClkInit.AdcClockSelection = RCC_ADCPCLK2_DIV2;
  if (HAL_RCCEx_PeriphCLKConfig(&PeriphClkInit) != HAL_OK)
  {
    Error_Handler();
  }
}

static void MX_ADC1_Init(void)
{

  ADC_ChannelConfTypeDef sConfig = {0};

  /** Common config
  */
  hadc1.Instance = ADC1;
  hadc1.Init.ScanConvMode = ADC_SCAN_DISABLE;
  hadc1.Init.ContinuousConvMode = DISABLE;
  hadc1.Init.DiscontinuousConvMode = DISABLE;
  hadc1.Init.ExternalTrigConv = ADC_SOFTWARE_START;
  hadc1.Init.DataAlign = ADC_DATAALIGN_RIGHT;
  hadc1.Init.NbrOfConversion = 1;
  if (HAL_ADC_Init(&hadc1) != HAL_OK)
  {
    Error_Handler();
  }

  /** Configure Regular Channel
  */
  sConfig.Channel = ADC_CHANNEL_0;
  sConfig.Rank = ADC_REGULAR_RANK_1;
  sConfig.SamplingTime = ADC_SAMPLETIME_1CYCLE_5;
  if (HAL_ADC_ConfigChannel(&hadc1, &sConfig) != HAL_OK)
  {
    Error_Handler();
  }

}

static void MX_CAN_Init(void)
{

  /* USER CODE BEGIN CAN_Init 1 */

	if (params_buf[18] > 0)
	  hcan.Init.Prescaler = params_buf[18]*2; //params_buf[18] = 4 (125kbps), 3 (166kbps), 2 (250kbps), 1 (500kbps)
	else
		hcan.Init.Prescaler = 8;

  /* USER CODE END CAN_Init 1 */
  hcan.Instance = CAN1;
  //hcan.Init.Prescaler = 8;
  hcan.Init.Mode = CAN_MODE_NORMAL;
  hcan.Init.SyncJumpWidth = CAN_SJW_1TQ;
  hcan.Init.TimeSeg1 = CAN_BS1_8TQ;
  hcan.Init.TimeSeg2 = CAN_BS2_7TQ;
  hcan.Init.TimeTriggeredMode = DISABLE;
  hcan.Init.AutoBusOff = DISABLE;
  hcan.Init.AutoWakeUp = DISABLE;
  hcan.Init.AutoRetransmission = DISABLE;
  hcan.Init.ReceiveFifoLocked = DISABLE;
  hcan.Init.TransmitFifoPriority = DISABLE;
  if (HAL_CAN_Init(&hcan) != HAL_OK)
  {
    Error_Handler();
  }

}

static void MX_CRC_Init(void)
{

  hcrc.Instance = CRC;
  if (HAL_CRC_Init(&hcrc) != HAL_OK)
  {
    Error_Handler();
  }

}

static void MX_I2C2_Init(void)
{

  hi2c2.Instance = I2C2;
  hi2c2.Init.ClockSpeed = 100000;
  hi2c2.Init.DutyCycle = I2C_DUTYCYCLE_2;
  hi2c2.Init.OwnAddress1 = 0;
  hi2c2.Init.AddressingMode = I2C_ADDRESSINGMODE_7BIT;
  hi2c2.Init.DualAddressMode = I2C_DUALADDRESS_DISABLE;
  hi2c2.Init.OwnAddress2 = 0;
  hi2c2.Init.GeneralCallMode = I2C_GENERALCALL_DISABLE;
  hi2c2.Init.NoStretchMode = I2C_NOSTRETCH_DISABLE;
  if (HAL_I2C_Init(&hi2c2) != HAL_OK)
  {
    Error_Handler();
  }

}

static void MX_IWDG_Init(void)
{

  hiwdg.Instance = IWDG;
  hiwdg.Init.Prescaler = IWDG_PRESCALER_128;
  hiwdg.Init.Reload = 325;
  if (HAL_IWDG_Init(&hiwdg) != HAL_OK)
  {
    Error_Handler();
  }

}

static void MX_TIM3_Init(void)
{

  TIM_ClockConfigTypeDef sClockSourceConfig = {0};
  TIM_MasterConfigTypeDef sMasterConfig = {0};

  htim3.Instance = TIM3;
  htim3.Init.Prescaler = 1000;
  htim3.Init.CounterMode = TIM_COUNTERMODE_UP;
  htim3.Init.Period = 160;
  htim3.Init.ClockDivision = TIM_CLOCKDIVISION_DIV1;
  htim3.Init.AutoReloadPreload = TIM_AUTORELOAD_PRELOAD_DISABLE;
  if (HAL_TIM_Base_Init(&htim3) != HAL_OK)
  {
    Error_Handler();
  }
  sClockSourceConfig.ClockSource = TIM_CLOCKSOURCE_INTERNAL;
  if (HAL_TIM_ConfigClockSource(&htim3, &sClockSourceConfig) != HAL_OK)
  {
    Error_Handler();
  }
  sMasterConfig.MasterOutputTrigger = TIM_TRGO_RESET;
  sMasterConfig.MasterSlaveMode = TIM_MASTERSLAVEMODE_DISABLE;
  if (HAL_TIMEx_MasterConfigSynchronization(&htim3, &sMasterConfig) != HAL_OK)
  {
    Error_Handler();
  }

}

static void MX_TIM4_Init(void)
{

  TIM_ClockConfigTypeDef sClockSourceConfig = {0};
  TIM_MasterConfigTypeDef sMasterConfig = {0};

  htim4.Instance = TIM4;
  htim4.Init.Prescaler = 50;
  htim4.Init.CounterMode = TIM_COUNTERMODE_UP;
  htim4.Init.Period = 10;
  htim4.Init.ClockDivision = TIM_CLOCKDIVISION_DIV1;
  htim4.Init.AutoReloadPreload = TIM_AUTORELOAD_PRELOAD_DISABLE;
  if (HAL_TIM_Base_Init(&htim4) != HAL_OK)
  {
    Error_Handler();
  }
  sClockSourceConfig.ClockSource = TIM_CLOCKSOURCE_INTERNAL;
  if (HAL_TIM_ConfigClockSource(&htim4, &sClockSourceConfig) != HAL_OK)
  {
    Error_Handler();
  }
  sMasterConfig.MasterOutputTrigger = TIM_TRGO_RESET;
  sMasterConfig.MasterSlaveMode = TIM_MASTERSLAVEMODE_DISABLE;
  if (HAL_TIMEx_MasterConfigSynchronization(&htim4, &sMasterConfig) != HAL_OK)
  {
    Error_Handler();
  }

}

static void MX_USART1_UART_Init(void)
{

  huart1.Instance = USART1;
  huart1.Init.BaudRate = 115200;
  huart1.Init.WordLength = UART_WORDLENGTH_8B;
  huart1.Init.StopBits = UART_STOPBITS_1;
  huart1.Init.Parity = UART_PARITY_NONE;
  huart1.Init.Mode = UART_MODE_TX_RX;
  huart1.Init.HwFlowCtl = UART_HWCONTROL_NONE;
  huart1.Init.OverSampling = UART_OVERSAMPLING_16;
  if (HAL_UART_Init(&huart1) != HAL_OK)
  {
    Error_Handler();
  }

}

static void MX_GPIO_Init(void)
{
  GPIO_InitTypeDef GPIO_InitStruct = {0};

  /* GPIO Ports Clock Enable */
  __HAL_RCC_GPIOA_CLK_ENABLE();
  __HAL_RCC_GPIOB_CLK_ENABLE();

  /*Configure GPIO pin Output Level */
  HAL_GPIO_WritePin(GPIOB, GPIO_PIN_12|GPIO_PIN_13|GPIO_PIN_14, GPIO_PIN_RESET);

  /*Configure GPIO pin Output Level */
  HAL_GPIO_WritePin(GPIOA, GPIO_PIN_9|GPIO_PIN_10|GPIO_PIN_11, GPIO_PIN_RESET);

  /*Configure GPIO pins : PA7 PA8 PA12 */
  GPIO_InitStruct.Pin = GPIO_PIN_7|GPIO_PIN_8|GPIO_PIN_12;
  GPIO_InitStruct.Mode = GPIO_MODE_INPUT;
  GPIO_InitStruct.Pull = GPIO_NOPULL;
  HAL_GPIO_Init(GPIOA, &GPIO_InitStruct);

  /*Configure GPIO pins : PB0 PB1 PB2 PB15 */
  GPIO_InitStruct.Pin = GPIO_PIN_0|GPIO_PIN_1|GPIO_PIN_2|GPIO_PIN_15;
  GPIO_InitStruct.Mode = GPIO_MODE_INPUT;
  GPIO_InitStruct.Pull = GPIO_NOPULL;
  HAL_GPIO_Init(GPIOB, &GPIO_InitStruct);

  /*Configure GPIO pins : PB12 PB13 PB14 */
  GPIO_InitStruct.Pin = GPIO_PIN_12|GPIO_PIN_13|GPIO_PIN_14;
  GPIO_InitStruct.Mode = GPIO_MODE_OUTPUT_PP;
  GPIO_InitStruct.Pull = GPIO_NOPULL;
  GPIO_InitStruct.Speed = GPIO_SPEED_FREQ_LOW;
  HAL_GPIO_Init(GPIOB, &GPIO_InitStruct);

  /*Configure GPIO pins : PA9 PA10 PA11 */
  GPIO_InitStruct.Pin = GPIO_PIN_9|GPIO_PIN_10|GPIO_PIN_11;
  GPIO_InitStruct.Mode = GPIO_MODE_OUTPUT_PP;
  GPIO_InitStruct.Pull = GPIO_NOPULL;
  GPIO_InitStruct.Speed = GPIO_SPEED_FREQ_LOW;
  HAL_GPIO_Init(GPIOA, &GPIO_InitStruct);

}

void Error_Handler(void)
{
  __disable_irq();
  while (1)
  {
  }
}
